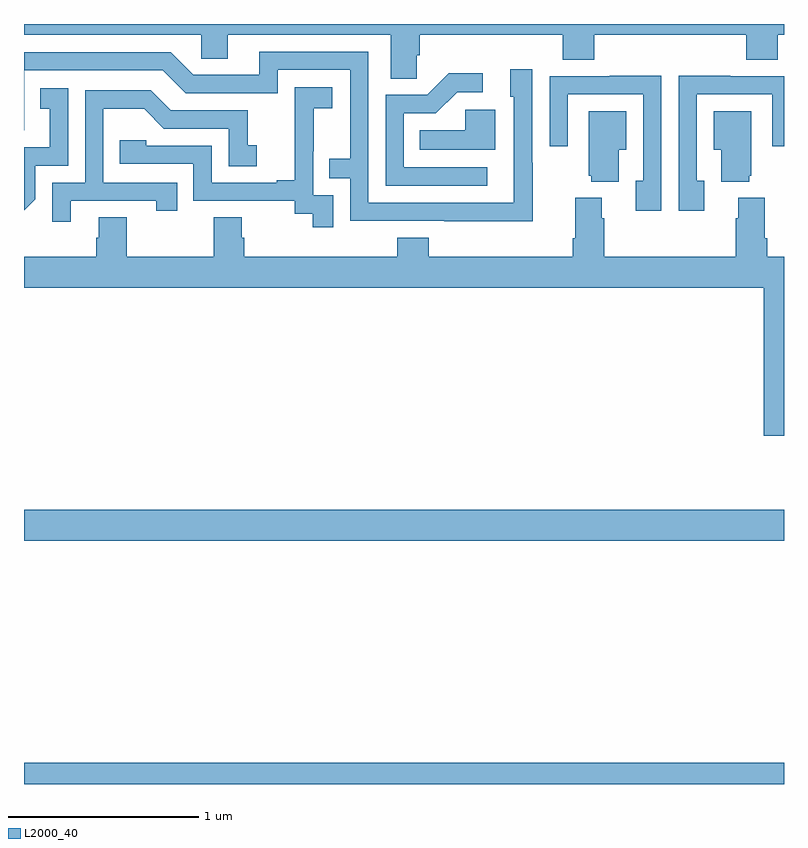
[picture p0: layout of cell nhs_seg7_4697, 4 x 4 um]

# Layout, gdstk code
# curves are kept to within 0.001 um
import gdstk
lib = gdstk.Library(unit=1e-6, precision=1e-09)
def R(c, l, rs):  # rectangles x0, y0, x1, y1
    for r in rs: c.add(gdstk.rectangle(r[:2], r[2:], *l))
def P(c, l, *ps):  # polygons
    for p in ps: c.add(gdstk.Polygon(p, *l))
L2000_40 = (2000, 40)

nhs_seg7_4697 = lib.new_cell('nhs_seg7_4697')
R(nhs_seg7_4697, L2000_40, [(407,1002,411,1002.112), (407,1003.28,411,1003.444)])
P(nhs_seg7_4697, L2000_40, [(409.068,1005.835),(409.082,1005.835),(409.082,1005.944),(409.835,1005.944),(409.835,1005.811),(410,1005.811),(410,1005.944),(410.801,1005.944),(410.801,1005.811),(410.966,1005.811),(410.966,1005.944),(411,1005.944),(411,1006),(407,1006),(407,1005.944),(407.934,1005.944),(407.934,1005.817),(408.073,1005.817),(408.073,1005.944),(408.929,1005.944),(408.929,1005.712),(409.068,1005.712)],
  [(409.677,1005.269),(409.674,1005.269),(409.674,1005.763),(409.559,1005.763),(409.559,1005.618),(409.578,1005.618),(409.577,1005.06),(408.813,1005.06),(408.813,1005.855),(408.239,1005.855),(408.239,1005.732),(407.892,1005.732),(407.772,1005.852),(407,1005.852),(407,1005.441),(407.001,1005.756),(407.73,1005.756),(407.85,1005.636),(408.336,1005.636),(408.336,1005.759),(408.717,1005.759),(408.717,1005.29),(408.607,1005.29),(408.607,1005.189),(408.717,1005.189),(408.717,1004.964),(409.677,1004.963)],
  [(409.438,1005.246),(408.999,1005.246),(408.999,1005.531),(409.168,1005.531),(409.279,1005.642),(409.414,1005.642),(409.414,1005.74),(409.235,1005.74),(409.122,1005.627),(408.903,1005.627),(408.903,1005.15),(409.438,1005.15)],
  [(410.581,1005.174),(410.541,1005.174),(410.541,1005.63),(410.937,1005.63),(410.937,1005.357),(411,1005.357),(411,1005.726),(410.717,1005.726),(410.717,1005.728),(410.445,1005.728),(410.445,1005.018),(410.581,1005.018)],
  [(410.355,1005.728),(410.083,1005.728),(410.083,1005.726),(409.767,1005.726),(409.767,1005.357),(409.863,1005.357),(409.863,1005.63),(410.259,1005.63),(410.259,1005.174),(410.219,1005.174),(410.219,1005.018),(410.355,1005.018)],
  [(408.627,1005.099),(408.522,1005.099),(408.522,1005.329),(408.524,1005.329),(408.524,1005.557),(408.622,1005.557),(408.622,1005.667),(408.424,1005.667),(408.424,1005.461),(408.425,1005.461),(408.425,1005.178),(408.329,1005.178),(408.329,1005.165),(407.988,1005.165),(407.988,1005.36),(407.643,1005.36),(407.643,1005.387),(407.503,1005.387),(407.503,1005.264),(407.892,1005.264),(407.892,1005.069),(408.426,1005.069),(408.426,1005.001),(408.519,1005.001),(408.519,1004.931),(408.627,1004.931)],
  [(407.058,1005.078),(407.058,1005.255),(407.232,1005.255),(407.232,1005.661),(407.086,1005.661),(407.086,1005.555),(407.135,1005.555),(407.135,1005.351),(407,1005.351),(407,1005.021)],
  [(407.245,1005.069),(407.696,1005.069),(407.696,1005.018),(407.807,1005.018),(407.807,1005.165),(407.418,1005.165),(407.418,1005.554),(407.632,1005.554),(407.736,1005.45),(408.078,1005.45),(408.078,1005.252),(408.226,1005.252),(408.226,1005.361),(408.177,1005.361),(408.177,1005.546),(407.773,1005.546),(407.668,1005.651),(407.322,1005.651),(407.322,1005.165),(407.148,1005.165),(407.148,1004.958),(407.245,1004.958)],
  [(409.48,1005.55),(409.323,1005.55),(409.323,1005.442),(409.084,1005.442),(409.084,1005.338),(409.48,1005.338)],
  [(410.816,1005.201),(410.827,1005.201),(410.827,1005.541),(410.63,1005.541),(410.63,1005.338),(410.669,1005.338),(410.669,1005.17),(410.816,1005.17)],
  [(410.131,1005.338),(410.17,1005.338),(410.17,1005.541),(409.973,1005.541),(409.973,1005.201),(409.985,1005.201),(409.985,1005.17),(410.131,1005.17)],
  [(411,1004.776),(410.912,1004.776),(410.912,1004.872),(410.899,1004.872),(410.899,1005.085),(410.759,1005.085),(410.759,1004.978),(410.747,1004.978),(410.747,1004.776),(410.054,1004.776),(410.054,1004.978),(410.041,1004.978),(410.041,1005.085),(409.901,1005.085),(409.901,1004.872),(409.889,1004.872),(409.889,1004.776),(409.13,1004.776),(409.13,1004.875),(408.965,1004.875),(408.965,1004.776),(408.158,1004.776),(408.158,1004.874),(408.145,1004.874),(408.145,1004.984),(407.998,1004.984),(407.998,1004.776),(407.541,1004.776),(407.541,1004.984),(407.393,1004.984),(407.393,1004.874),(407.381,1004.874),(407.381,1004.776),(407,1004.776),(407,1004.612),(410.894,1004.612),(410.894,1003.833),(411,1003.833)])

lib.write_gds('nhs_seg7_4697.gds')
